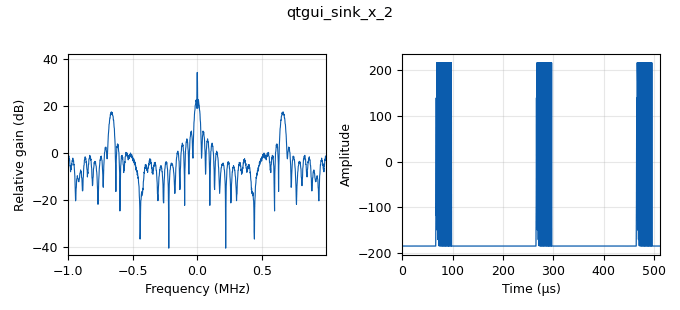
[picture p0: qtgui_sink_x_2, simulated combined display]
options:
  parameters:
    generate_options: qt_gui
    id: oposec_sdr
    output_language: python
    title: Not titled yet
  states: {}

blocks:
- name: clock_shift
  id: variable_qtgui_range
  parameters:
    start: '-100'
    step: '1e-3'
    stop: '100'
    value: '-0.46100'
  states: {}
- name: data_rate
  id: variable
  parameters:
    value: 3.13e3
  states: {}
- name: freq_shift
  id: variable_qtgui_range
  parameters:
    start: '-samp_rate'
    step: 1e3
    stop: samp_rate
    value: '-0.6e6'
  states: {}
- name: frequency
  id: variable
  parameters:
    value: 433e6
  states: {}
- name: hrf
  id: variable
  parameters:
    value: '0'
  states: {}
- name: lp_freq
  id: variable_qtgui_range
  parameters:
    start: 10e3
    step: 1e3
    stop: samp_rate/2
    value: 200e3
  states: {}
- name: mavg
  id: variable_qtgui_range
  parameters:
    start: '1'
    step: 1e2
    stop: 4e3
    value: '400'
  states: {}
- name: samp_per_sym
  id: variable
  parameters:
    value: int(samp_rate*2/data_rate)
  states: {}
- name: samp_rate
  id: variable
  parameters:
    value: 2e6
  states: {}
- name: blocks_add_const_vxx_0
  id: blocks_add_const_vxx
  parameters:
    const: clock_shift
    type: float
  states: {}
- name: blocks_char_to_float_1
  id: blocks_char_to_float
  parameters:
    scale: '1'
  states: {}
- name: blocks_complex_to_mag_0
  id: blocks_complex_to_mag
  parameters: {}
  states: {}
- name: blocks_file_sink_0
  id: blocks_file_sink
  parameters:
    append: 'True'
    file: /tmp/comando.fifo
    type: byte
    unbuffered: 'True'
  states: {}
- name: blocks_float_to_complex_0
  id: blocks_float_to_complex
  parameters: {}
  states: {}
- name: blocks_moving_average_xx_0
  id: blocks_moving_average_xx
  parameters:
    length: int(mavg)
    max_iter: '4000'
    scale: '1'
    type: float
  states: {}
- name: blocks_repeat_0
  id: blocks_repeat
  parameters:
    interp: '500'
    type: byte
  states: {}
- name: blocks_unpack_k_bits_bb_0
  id: blocks_unpack_k_bits_bb
  parameters:
    k: '1'
  states: {}
- name: blocks_vector_source_x_0
  id: blocks_vector_source_x
  parameters:
    repeat: 'True'
    type: byte
    vector: (1,0,1,1,0,1,1,0,1,1,0,1,1,0,1,1,0,1,1,0,1,1,0,1,1,0,1,1,0,1,1,0,1,1,0,1,1,0,1,1,0,1,1,0,1,1,0,0,1,0,1,1,0,1,1,0,1,1,0,0,1,0,0,0,0,0,0,0,0,0,0,0,0,0,0,0,0,0,0,0,0,0,0,0,0,0,0,0,0,0,0,0,0,0,0,0,0,0,0,0,0,0,0,0,0,0,0,0,0,0,0,0,0,0,0,0,0,0,0,0,0,0,0,0,0,0,0,0,0,0,0,0,0,0,0,0,0,0,0,0,0,0,0,0,0,0,0,0,0,0,0,0,0,0,0,0,0,0,0,0,0,0,0,0,0,0,0,0,0,0,0,0,0,0,0,0,0,0,0,0,0,0,0,0,0,0,0,0,0,0,0,0,0,0,0,0,0,0,0,0,0,0,0,0,0,0,0,0,0,0,0,0,0,0,0,0,0,0,0,0,0,0,0,0,0,0,0,0,0,0,0,0,0,0,0,0,0,0,0,0,0,0,0,0,0,0,0,0,0,0,0,0,0,0,0,0,0,0,0,0,0,0,0,0,0,0,0,0,0,0,0,0,0,0,0,0,0,0,0,0,0,0,0,0,0,0,0,0,0,0,0,0,0,0,0,0,0,0,0,0,0,0,0,0,0,0,0,0,0,0,0,0,0,0,0,0,0,0,0,0,0,0,0,0,0,0,0,0,0,0,0,0,0,0,0,0,0,0,0,0,0,0,0,0,0,0,0,0,0,0,0,0,0,0,0,0,0,0,0,0,0,0,0,0,0,0,0,0,0,0,0,0,0,0,0,0,0,0,0,0,0,0,0,0,0,0,0,0,0,0,0,0,0,0,0,0,0)
  states: {}
- name: digital_binary_slicer_fb_0
  id: digital_binary_slicer_fb
  parameters: {}
  states: {}
- name: digital_clock_recovery_mm_xx_0
  id: digital_clock_recovery_mm_xx
  parameters:
    gain_mu: '0.175'
    gain_omega: 0.25*0.175*0.175
    mu: '0.5'
    omega: samp_per_sym*(1+0.0)
    omega_relative_limit: '0.005'
    type: float
  states: {}
- name: digital_map_bb_0
  id: digital_map_bb
  parameters:
    map: '[0,1]'
  states: {}
- name: qtgui_sink_x_2
  id: qtgui_sink_x
  parameters:
    bw: samp_rate
    fc: '0'
    fftsize: '1024'
    type: float
  states: {}
- name: rational_resampler_xxx_1
  id: rational_resampler_xxx
  parameters:
    decim: '157'
    interp: '400'
    type: fff
  states: {}

connections:
- [blocks_add_const_vxx_0, '0', blocks_moving_average_xx_0, '0']
- [blocks_char_to_float_1, '0', rational_resampler_xxx_1, '0']
- [blocks_complex_to_mag_0, '0', blocks_add_const_vxx_0, '0']
- [blocks_float_to_complex_0, '0', blocks_complex_to_mag_0, '0']
- [blocks_moving_average_xx_0, '0', digital_clock_recovery_mm_xx_0, '0']
- [blocks_repeat_0, '0', digital_map_bb_0, '0']
- [blocks_unpack_k_bits_bb_0, '0', blocks_char_to_float_1, '0']
- [blocks_vector_source_x_0, '0', blocks_repeat_0, '0']
- [digital_binary_slicer_fb_0, '0', blocks_file_sink_0, '0']
- [digital_clock_recovery_mm_xx_0, '0', digital_binary_slicer_fb_0, '0']
- [digital_clock_recovery_mm_xx_0, '0', qtgui_sink_x_2, '0']
- [digital_map_bb_0, '0', blocks_unpack_k_bits_bb_0, '0']
- [rational_resampler_xxx_1, '0', blocks_float_to_complex_0, '0']

metadata:
  file_format: 1
  grc_version: 3.10.5.1
